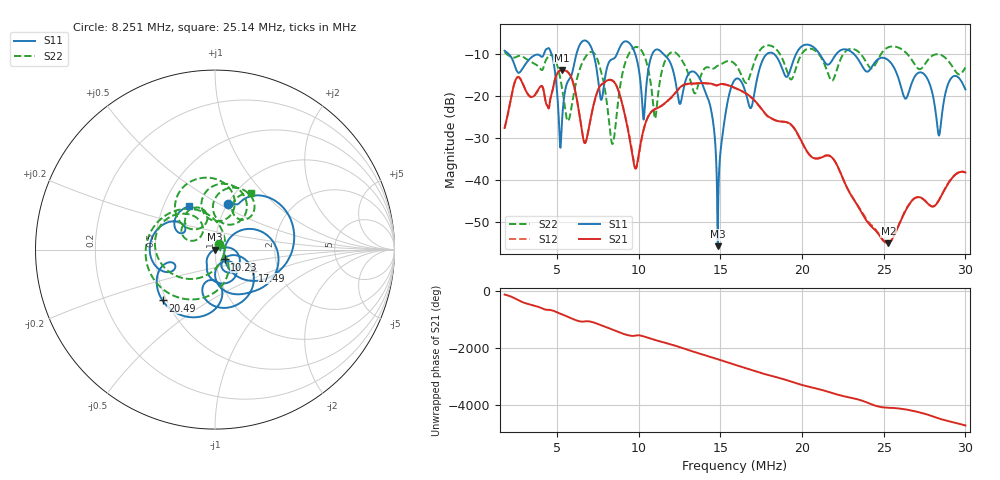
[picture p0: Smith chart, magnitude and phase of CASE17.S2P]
!Agilent Technologies,E5061B,MY49101568,A.02.00
!Date: Wed Mar 01 15:35:16 2023
!Data & Calibration Information:
!Freq	S11:SOLT2(OFF)	S21:SOLT2(OFF)	S12:SOLT2(OFF)	S22:SOLT2(OFF)
# Hz S dB R 50
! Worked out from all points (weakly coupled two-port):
!   1155 points, 1.8 MHz to 30 MHz, reference 50 ohm
!   highest |S21| = -13.76 dB at 5.294 MHz (marker M1); lowest = -55.2 dB at 25.28 MHz (marker M2)
!   lowest |S11| = -55.9 dB at 14.85 MHz (marker M3), VSWR 1.00, Z = 50.2 - j0.0336 ohm
!   |S11| at or under -10 dB: 2.071 MHz to 4.195 MHz (2.124 MHz wide, 67.8 % of centre); 11.54 MHz to 17.82 MHz (6.281 MHz wide, 42.8 % of centre); 23.2 MHz to end of sweep (the widest 3 of 8)
!   |S22| runs from -31.5 to -7.8 dB; largest |S21 - S12| = 0.0028
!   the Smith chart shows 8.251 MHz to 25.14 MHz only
!   S11 on the Smith chart (normalised r, x): 8.251 MHz: 1.01, +0.55; 10.23 MHz: 1.11, -0.12; 17.49 MHz: 1.48, -0.37; 20.49 MHz: 0.48, -0.32; 25.14 MHz: 0.67, +0.35
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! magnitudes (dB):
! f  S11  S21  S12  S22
! 1.8 MHz  -9.1  -27.6  -27.6  -9.5
! 2.606 MHz  -14.3  -15.5  -15.4  -10.4
! 4.537 MHz  -8.6  -22.4  -22.3  -10.1
! 5.294 MHz  -27.2  -13.8  -13.8  -17.6
! 5.71 MHz  -16.2  -14.4  -14.4  -25.8
! 6.516 MHz  -7.0  -28.0  -27.9  -12.3
! 7.445 MHz  -13.9  -19.3  -19.3  -10.8
! 8.251 MHz  -11.5  -16.1  -16.0  -28.2
! 9.498 MHz  -7.6  -31.2  -30.8  -9.3
! 10.23 MHz  -22.2  -29.2  -29.4  -9.4
! 11.21 MHz  -8.9  -22.8  -22.7  -19.1
! 13.85 MHz  -16.6  -16.9  -16.9  -14.7
! 14.85 MHz  -55.9  -17.3  -17.4  -12.7
! 15.9 MHz  -16.0  -18.0  -18.1  -12.3
! 17.49 MHz  -12.4  -22.8  -22.9  -8.7
! 20.49 MHz  -7.8  -34.2  -34.2  -8.6
! 20.62 MHz  -8.0  -34.6  -34.5  -8.7
! 25.14 MHz  -11.0  -55.1  -55.2  -8.6
! 25.28 MHz  -11.4  -55.2  -55.3  -8.3
! 25.31 MHz  -11.5  -55.1  -55.2  -8.3
! 28.39 MHz  -29.4  -44.9  -44.8  -10.0
! 30 MHz  -18.4  -38.3  -38.2  -13.2
